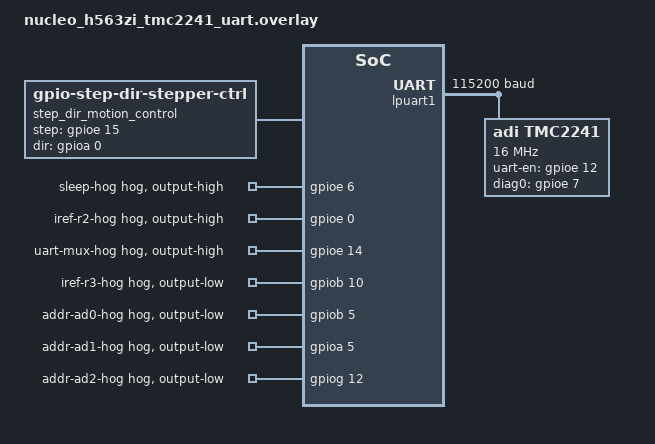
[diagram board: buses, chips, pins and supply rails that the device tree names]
/*
 * SPDX-FileCopyrightText: Copyright (c) 2026
 * SPDX-License-Identifier: Apache-2.0
 *
 * TMC2241-EVKIT on the Nucleo-H563ZI through the "Sternbruecke Nucleo V0.1"
 * adapter, talking single-wire UART instead of SPI. Same pins, STEP/DIR path
 * and chip settings as nucleo_h563zi.overlay, see the header of that file and
 * of samples/drivers/stepper/tmc5241/boards/nucleo_h563zi_uart.overlay for the
 * UART path (LPUART1 PB6/PB7 through the U204 mux, select PE14 high) and the
 * address pins (CSN/SCK/SDI = PG12/PA5/PB5 driven low for node address 0).
 *
 * Use it in place of the default overlay:
 *   west build -b nucleo_h563zi samples/drivers/stepper/generic
 *       -- -DDTC_OVERLAY_FILE=boards/nucleo_h563zi_tmc2241_uart.overlay
 */

/ {
	aliases {
		stepper-driver = &tmc2241_stepper_driver;
		stepper-ctrl = &step_dir_motion_control;
	};

	step_dir_motion_control: motion-controller {
		compatible = "zephyr,gpio-step-dir-stepper-ctrl";
		step-gpios = <&gpioe 15 GPIO_ACTIVE_HIGH>; /* STEP_INT, via Sternbruecke D37 */
		dir-gpios = <&gpioa 0 GPIO_ACTIVE_HIGH>;   /* DIR_INT, via Sternbruecke D32 */
		stepper-driver = <&tmc2241_stepper_driver>;
	};
};

&gpioe {
	sleep-hog {
		gpio-hog;
		gpios = <6 GPIO_ACTIVE_HIGH>;
		output-high;
	};

	iref-r2-hog {
		gpio-hog;
		gpios = <0 GPIO_ACTIVE_HIGH>;
		output-high;
	};

	uart-mux-hog {
		gpio-hog;
		gpios = <14 GPIO_ACTIVE_HIGH>; /* Nucleo D4, high = UART path */
		output-high;
	};
};

&gpiob {
	iref-r3-hog {
		gpio-hog;
		gpios = <10 GPIO_ACTIVE_HIGH>;
		output-low;
	};

	addr-ad0-hog {
		gpio-hog;
		gpios = <5 GPIO_ACTIVE_HIGH>; /* SDI/AD0 = D11 */
		output-low;
	};
};

&gpioa {
	addr-ad1-hog {
		gpio-hog;
		gpios = <5 GPIO_ACTIVE_HIGH>; /* SCK/AD1 = D13 */
		output-low;
	};
};

&gpiog {
	addr-ad2-hog {
		gpio-hog;
		gpios = <12 GPIO_ACTIVE_HIGH>; /* CSN/AD2 = D7 */
		output-low;
	};
};

&spi1 {
	status = "disabled";
};

&lpuart1 {
	current-speed = <115200>;
	status = "okay";

	tmc2241: tmc2241 {
		compatible = "adi,tmc2241";
		uart-device-addr = <0>;
		uart-en-gpios = <&gpioe 12 GPIO_ACTIVE_HIGH>; /* UART_EN high = UART mode */

		/* Sternbruecke Y201 XTAL OSC, actively driven */
		clock-frequency = <16000000>;
		diag0-gpios = <&gpioe 7 GPIO_ACTIVE_HIGH>;
		en-pwm-mode;
		/* Above the TSTEP seen at stall time (about 1750 over UART with this sample, where the
		 * UART reads in the DIAG0 handler share the system workqueue with the STEP timing)
		 */
		tcoolthrs = <4000>;
		sg4-threshold = <15>;

		tmc2241_stepper_driver: stepper-driver {
			compatible = "adi,tmc5241-stepper-driver";
			en-gpios = <&gpioa 3 GPIO_ACTIVE_LOW>; /* DRV_ENN active-low */
			micro-step-res = <16>;
			stallguard2-threshold = <12>;
		};
	};
};
